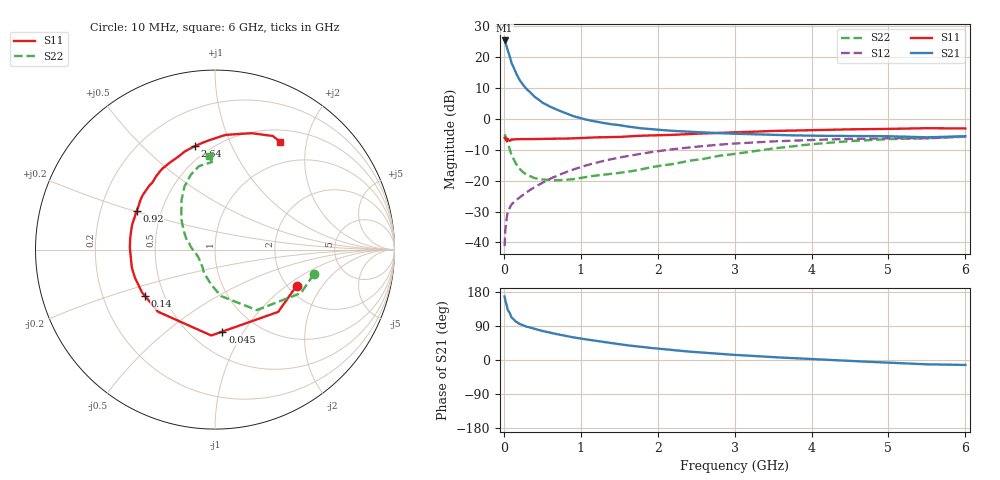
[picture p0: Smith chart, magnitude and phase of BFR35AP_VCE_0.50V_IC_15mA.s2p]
! Infineon Technologies  Discrete & RF Semiconductors
! BFR35AP
! VCE = 0.50 V,  IC =  15 mA
! Common Emitter S-Parameters:  Nov 2015
# GHz  S  MA  R  50
!  f  S11  S21  S12  S22
! GHz  MAG  ANG  MAG  ANG  MAG  ANG  MAG  ANG
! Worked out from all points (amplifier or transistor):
!   210 points, 10 MHz to 6 GHz, reference 50 ohm
!   highest |S21| = 25.5 dB at 10 MHz (marker M1)
!   |S21| within 3 dB of that: start of sweep to 49.12 MHz
!   unconditionally stable (mu >= 1): start of sweep to 18.98 MHz; 76.55 MHz to end of sweep
!   at 185 MHz: K = 1.60, MAG = 15.2 dB, |S12| = -25.8 dB
!   at 1.52 GHz: K = 2.06, MAG = -0.7 dB, |S12| = -12.4 dB
!   at 6 GHz: K = 1.18, MAG = -2.5 dB, |S12| = -5.7 dB
!   S11 on the Smith chart (normalised r, x): 10 MHz: 2.23, -1.19; 45 MHz: 0.70, -0.81; 140 MHz: 0.39, -0.26; 920 MHz: 0.36, +0.21; 2.64 GHz: 0.42, +0.73; 6 GHz: 0.66, +1.56
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0.01  0.4975 -23.9  18.77 167.7  0.0087 75.8  0.5668 -14.0
0.02  0.4943 -44.6  17.79 156.6  0.0163 68.2  0.5367 -26.8
0.045  0.4585 -84.8  13.75 137.4  0.0286 54.3  0.4221 -49.6
0.05  0.479 -92.5  13.19 132.3  0.0312 52.9  0.4097 -55.4
0.1  0.4696 -132.5  8.121 112.0  0.0413 44.2  0.2611 -82.6
0.14  0.4677 -146.4  6.255 104.6  0.0463 44.4  0.2082 -92.8
0.15  0.4715 -149.8  5.812 102.0  0.0475 44.5  0.1963 -96.2
0.2  0.4726 -160.6  4.394 95.6  0.0529 47.3  0.1586 -107.7
0.24  0.4736 -166.1  3.714 92.2  0.0579 49.2  0.1413 -115.5
0.3  0.4711 -172.3  3.031 87.7  0.0654 52.1  0.1251 -122.6
0.4  0.4746 178.9  2.296 81.9  0.0786 55.4  0.1105 -133.4
0.5  0.4768 173.0  1.851 76.6  0.0923 57.5  0.1047 -144.1
0.6  0.4787 167.8  1.588 72.1  0.1073 58.4  0.1031 -150.6
0.92  0.4873 153.5  1.099 59.3  0.1547 58.0  0.1069 -166.1
1.02  0.4921 149.3  1.012 56.0  0.1696 57.2  0.1121 -170.5
1.38  0.51 136.4  0.829 45.2  0.2211 52.8  0.1291 177.0
2.02  0.5467 117.0  0.668 29.8  0.3037 43.3  0.1741 158.0
2.64  0.5866 101.1  0.603 18.7  0.3693 33.3  0.2315 141.8
3.1  0.6142 91.7  0.573 12.3  0.4068 25.8  0.2834 131.5
4.1  0.6632 76.8  0.535 1.4  0.461 11.6  0.3998 114.0
5.1  0.6953 66.8  0.522 -7.9  0.4895 -0.7  0.4753 99.1
6  0.7025 59.0  0.526 -13.0  0.5166 -8.8  0.5219 93.6
